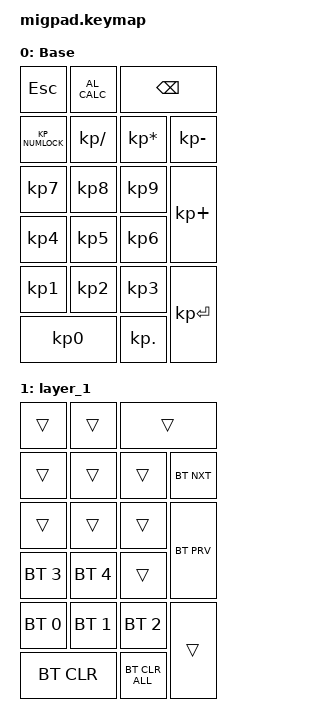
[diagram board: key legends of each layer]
#include <behaviors.dtsi>
#include <dt-bindings/zmk/bt.h>
#include <dt-bindings/zmk/keys.h>

/ {
    keymap {
        compatible = "zmk,keymap";

        layer_0 {
            label = "Base";
            bindings = <
&kp ESC           &kp C_AL_CALC                     &kp BACKSPACE
&KP_NUMLOCK       &kp KP_DIVIDE    &kp KP_MULTIPLY  &kp KP_MINUS
&kp KP_NUMBER_7   &kp KP_NUMBER_8  &kp KP_NUMBER_9
&kp KP_N4         &kp KP_NUMBER_5  &kp KP_NUMBER_6  &kp KP_PLUS
&kp KP_NUMBER_1   &kp KP_NUMBER_2  &kp KP_NUMBER_3
&kp KP_NUMBER_0                    &kp KP_DOT       &kp KP_ENTER
            >;
        };

        layer_1 {
            bindings = <
&trans        &trans                        &trans
&trans        &trans        &trans          &bt BT_NXT
&trans        &trans        &trans
&bt BT_SEL 3  &bt BT_SEL 4  &trans          &bt BT_PRV
&bt BT_SEL 0  &bt BT_SEL 1  &bt BT_SEL 2
&bt BT_CLR                  &bt BT_CLR_ALL  &trans
            >;
        };
    };
};
